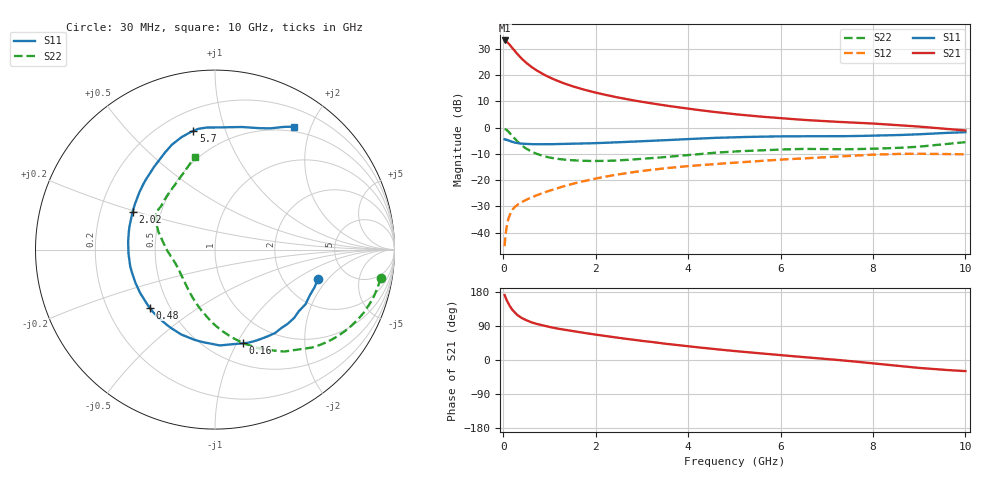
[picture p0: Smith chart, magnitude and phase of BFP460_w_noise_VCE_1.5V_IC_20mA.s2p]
! (c) 2016  Infineon Technologies AG, Munich
! Infineon Technologies  Discrete & RF Semiconductors
! BFP460
! VCE =  1.5 V,  IC =  20 mA
! Common Emitter S-Parameters:  Jan 2016
# GHz  S  MA  R  50
!  f  S11  S21  S12  S22
! GHz  MAG  ANG  MAG  ANG  MAG  ANG  MAG  ANG
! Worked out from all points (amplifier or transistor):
!   229 points, 30 MHz to 10 GHz, reference 50 ohm
!   highest |S21| = 33.2 dB at 30 MHz (marker M1)
!   |S21| within 3 dB of that: start of sweep to 203 MHz
!   unconditionally stable (mu >= 1): 1.747 GHz to 8.922 GHz
!   at 280 MHz: K = 0.43, MSG = 29.2 dB, |S12| = -29.8 dB
!   at 1.78 GHz: K = 1.00, MAG = 17.0 dB, |S12| = -20.3 dB
!   at 10 GHz: K = 0.99, MSG = 4.5 dB, |S12| = -10.2 dB
!   lowest NFmin = 1.24 dB at 450 MHz
!   S11 on the Smith chart (normalised r, x): 30 MHz: 3.09, -1.57; 160 MHz: 0.71, -1.06; 480 MHz: 0.39, -0.33; 2.02 GHz: 0.34, +0.19; 5.7 GHz: 0.32, +0.78; 10 GHz: 0.43, +1.76
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0.03  0.5972 -15.9  45.46 171.5  0.0055 84.8  0.9369 -9.8
0.05  0.5864 -25.8  44.41 164.8  0.0089 79.2  0.9224 -16.5
0.07  0.5796 -36.3  43.49 159.3  0.0121 75.6  0.9001 -22.9
0.09  0.5786 -45.7  41.94 154.3  0.0153 72.0  0.871 -29.0
0.12  0.5654 -58.7  39.37 147.1  0.0193 67.3  0.8219 -37.5
0.16  0.544 -73.6  35.74 139.1  0.0235 62.4  0.7508 -47.1
0.2  0.5346 -87.1  32.42 132.0  0.0272 58.7  0.686 -55.9
0.24  0.5197 -97.9  29.35 126.5  0.0299 56.1  0.626 -62.9
0.3  0.5091 -111.7  25.42 119.3  0.0334 53.4  0.5508 -72.4
0.4  0.4935 -128.5  20.48 110.8  0.0381 51.6  0.4586 -84.5
0.48  0.4868 -138.4  17.63 105.9  0.0414 51.3  0.407 -92.1
0.7  0.4803 -157.4  12.58 96.0  0.0502 52.3  0.3212 -108.4
0.9  0.4814 -168.8  9.96 89.8  0.0583 53.5  0.2814 -119.1
1.2  0.4835 178.8  7.571 82.4  0.0712 54.5  0.2512 -131.3
1.7  0.4945 163.6  5.407 72.4  0.0933 53.8  0.2328 -145.7
2.02  0.5048 155.4  4.576 66.7  0.1076 52.4  0.2305 -153.1
3.4  0.5669 127.9  2.714 44.7  0.1635 42.2  0.2689 -179.9
5.1  0.6558 105.7  1.761 22.6  0.2168 29.7  0.353 156.9
5.7  0.6721 100.3  1.58 16.1  0.2355 25.3  0.3709 151.9
6.8  0.6803 91.1  1.346 4.7  0.2666 17.5  0.3884 145.8
8.4  0.7117 72.3  1.131 -13.8  0.3122 3.2  0.4046 130.0
10  0.8152 57.1  0.878 -29.3  0.3088 -9.3  0.5257 102.5
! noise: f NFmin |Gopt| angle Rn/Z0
0.45  1.24  0.07  -176  0.13
0.9  1.26  0.04  175  0.15
1.9  1.38  0.18  -150  0.12
3.5  1.34  0.41  -125  0.15
